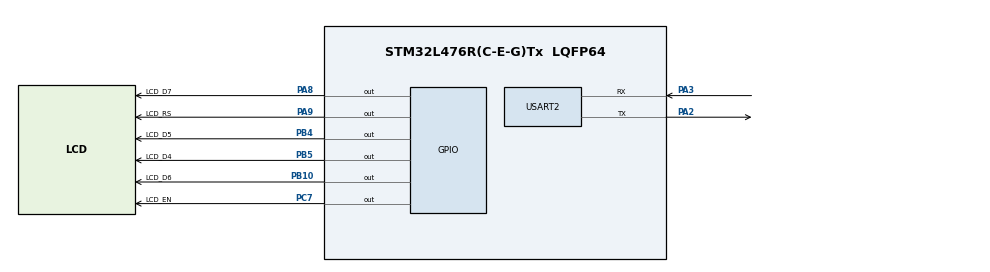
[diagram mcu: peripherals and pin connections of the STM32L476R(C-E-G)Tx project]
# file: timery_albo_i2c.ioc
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Mcu.Family=STM32L4
Mcu.Name=STM32L476R(C-E-G)Tx
Mcu.Package=LQFP64
NVIC.PriorityGroup=NVIC_PRIORITYGROUP_4
PA2.Mode=Asynchronous
PA2.Signal=USART2_TX
PA3.Mode=Asynchronous
PA3.Signal=USART2_RX
PA8.GPIO_Label=LCD_D7
PA8.Signal=GPIO_Output
PA9.GPIO_Label=LCD_RS
PA9.Signal=GPIO_Output
PB10.GPIO_Label=LCD_D6
PB10.Signal=GPIO_Output
PB4\ (NJTRST).GPIO_Label=LCD_D5
PB4\ (NJTRST).Signal=GPIO_Output
PB5.GPIO_Label=LCD_D4
PB5.Signal=GPIO_Output
PC7.GPIO_Label=LCD_EN
PC7.Signal=GPIO_Output
ProjectManager.HeapSize=0x200
ProjectManager.StackSize=0x400
ProjectManager.TargetToolchain=STM32CubeIDE
RCC.HSE_VALUE=8000000
RCC.HSI_VALUE=16000000
RCC.LSE_VALUE=32768
RCC.MSI_VALUE=4000000
RCC.VCOOutputFreq_Value=32000000
USART2.VirtualMode-Asynchronous=VM_ASYNC
VP_RTC_VS_RTC_Activate.Mode=RTC_Enabled
board=custom

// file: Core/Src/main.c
/* USER CODE BEGIN Header */
/**
  ******************************************************************************
  * @file           : main.c
  * @brief          : Main program body
  ******************************************************************************
  * @attention
  *
  * Copyright (c) 2023 STMicroelectronics.
  * All rights reserved.
  *
  * This software is licensed under terms that can be found in the LICENSE file
  * in the root directory of this software component.
  * If no LICENSE file comes with this software, it is provided AS-IS.
  *
  ******************************************************************************
  */
/* USER CODE END Header */
#include "main.h"

/* USER CODE BEGIN Includes */

#include "lcd.h"

/* USER CODE END Includes */

RTC_HandleTypeDef hrtc;

UART_HandleTypeDef huart2;

void SystemClock_Config(void);
static void MX_GPIO_Init(void);
static void MX_RTC_Init(void);
static void MX_USART2_UART_Init(void);

int main(void)
{

  /* MCU Configuration--------------------------------------------------------*/

  /* Reset of all peripherals, Initializes the Flash interface and the Systick. */
  HAL_Init();

  /* Configure the system clock */
  SystemClock_Config();

  /* Initialize all configured peripherals */
  MX_GPIO_Init();
  MX_RTC_Init();
  MX_USART2_UART_Init();
  /* USER CODE BEGIN 2 */

  lcd_init(_LCD_4BIT, _LCD_FONT_5x8, _LCD_2LINE);

  RTC_TimeTypeDef new_time;
  new_time.Hours = 7;
  new_time.Minutes = 45;
  new_time.Seconds = 0;
  RTC_DateTypeDef new_date;
  new_date.Year = 23;
  new_date.Month = 12;
  new_date.Date = 15;
  HAL_RTC_SetTime(&hrtc, &new_time, RTC_FORMAT_BIN);
  HAL_RTC_SetDate(&hrtc, &new_date, RTC_FORMAT_BIN);

  RTC_TimeTypeDef time;
  RTC_DateTypeDef date;

  HAL_RTC_GetTime(&hrtc, &time, RTC_FORMAT_BIN);
  HAL_RTC_GetDate(&hrtc, &date, RTC_FORMAT_BIN);

  char text[17];  // "YYYY-MM-DD HH:MM\0"
  sprintf(text, "%04d-%02d-%02d %02d:%02d", date.Year + 2000, date.Month, date.Date, time.Hours, time.Minutes);

  lcd_clear();
  lcd_print(1, 1, text);

    /* USER CODE END 2 */

    /* Infinite loop */
    while (1)
    {
//      RTC_TimeTypeDef time;
//      RTC_DateTypeDef date;
//
//      HAL_RTC_GetTime(&hrtc, &time, RTC_FORMAT_BIN);
//      HAL_RTC_GetDate(&hrtc, &date, RTC_FORMAT_BIN);

//  	  char text[20];
//  	  sprintf(text, "%d", time.Seconds);
//
//  	  lcd_clear();
//  	  lcd_print(1, 1, text);
//  	  HAL_Delay(1000);

    }
}

void SystemClock_Config(void)
{
  RCC_OscInitTypeDef RCC_OscInitStruct = {0};
  RCC_ClkInitTypeDef RCC_ClkInitStruct = {0};

  /** Configure the main internal regulator output voltage
  */
  if (HAL_PWREx_ControlVoltageScaling(PWR_REGULATOR_VOLTAGE_SCALE1) != HAL_OK)
  {
    Error_Handler();
  }

  /** Initializes the RCC Oscillators according to the specified parameters
  * in the RCC_OscInitTypeDef structure.
  */
  RCC_OscInitStruct.OscillatorType = RCC_OSCILLATORTYPE_LSI|RCC_OSCILLATORTYPE_MSI;
  RCC_OscInitStruct.LSIState = RCC_LSI_ON;
  RCC_OscInitStruct.MSIState = RCC_MSI_ON;
  RCC_OscInitStruct.MSICalibrationValue = 0;
  RCC_OscInitStruct.MSIClockRange = RCC_MSIRANGE_6;
  RCC_OscInitStruct.PLL.PLLState = RCC_PLL_NONE;
  if (HAL_RCC_OscConfig(&RCC_OscInitStruct) != HAL_OK)
  {
    Error_Handler();
  }

  /** Initializes the CPU, AHB and APB buses clocks
  */
  RCC_ClkInitStruct.ClockType = RCC_CLOCKTYPE_HCLK|RCC_CLOCKTYPE_SYSCLK
                              |RCC_CLOCKTYPE_PCLK1|RCC_CLOCKTYPE_PCLK2;
  RCC_ClkInitStruct.SYSCLKSource = RCC_SYSCLKSOURCE_MSI;
  RCC_ClkInitStruct.AHBCLKDivider = RCC_SYSCLK_DIV1;
  RCC_ClkInitStruct.APB1CLKDivider = RCC_HCLK_DIV1;
  RCC_ClkInitStruct.APB2CLKDivider = RCC_HCLK_DIV1;

  if (HAL_RCC_ClockConfig(&RCC_ClkInitStruct, FLASH_LATENCY_0) != HAL_OK)
  {
    Error_Handler();
  }
}

static void MX_RTC_Init(void)
{

  /** Initialize RTC Only
  */
  hrtc.Instance = RTC;
  hrtc.Init.HourFormat = RTC_HOURFORMAT_24;
  hrtc.Init.AsynchPrediv = 127;
  hrtc.Init.SynchPrediv = 255;
  hrtc.Init.OutPut = RTC_OUTPUT_DISABLE;
  hrtc.Init.OutPutRemap = RTC_OUTPUT_REMAP_NONE;
  hrtc.Init.OutPutPolarity = RTC_OUTPUT_POLARITY_HIGH;
  hrtc.Init.OutPutType = RTC_OUTPUT_TYPE_OPENDRAIN;
  if (HAL_RTC_Init(&hrtc) != HAL_OK)
  {
    Error_Handler();
  }

}

static void MX_USART2_UART_Init(void)
{

  huart2.Instance = USART2;
  huart2.Init.BaudRate = 115200;
  huart2.Init.WordLength = UART_WORDLENGTH_8B;
  huart2.Init.StopBits = UART_STOPBITS_1;
  huart2.Init.Parity = UART_PARITY_NONE;
  huart2.Init.Mode = UART_MODE_TX_RX;
  huart2.Init.HwFlowCtl = UART_HWCONTROL_NONE;
  huart2.Init.OverSampling = UART_OVERSAMPLING_16;
  huart2.Init.OneBitSampling = UART_ONE_BIT_SAMPLE_DISABLE;
  huart2.AdvancedInit.AdvFeatureInit = UART_ADVFEATURE_NO_INIT;
  if (HAL_UART_Init(&huart2) != HAL_OK)
  {
    Error_Handler();
  }

}

static void MX_GPIO_Init(void)
{
  GPIO_InitTypeDef GPIO_InitStruct = {0};

  /* GPIO Ports Clock Enable */
  __HAL_RCC_GPIOA_CLK_ENABLE();
  __HAL_RCC_GPIOB_CLK_ENABLE();
  __HAL_RCC_GPIOC_CLK_ENABLE();

  /*Configure GPIO pin Output Level */
  HAL_GPIO_WritePin(GPIOB, LCD_D6_Pin|LCD_D5_Pin|LCD_D4_Pin, GPIO_PIN_RESET);

  /*Configure GPIO pin Output Level */
  HAL_GPIO_WritePin(LCD_EN_GPIO_Port, LCD_EN_Pin, GPIO_PIN_RESET);

  /*Configure GPIO pin Output Level */
  HAL_GPIO_WritePin(GPIOA, LCD_D7_Pin|LCD_RS_Pin, GPIO_PIN_RESET);

  /*Configure GPIO pins : LCD_D6_Pin LCD_D5_Pin LCD_D4_Pin */
  GPIO_InitStruct.Pin = LCD_D6_Pin|LCD_D5_Pin|LCD_D4_Pin;
  GPIO_InitStruct.Mode = GPIO_MODE_OUTPUT_PP;
  GPIO_InitStruct.Pull = GPIO_NOPULL;
  GPIO_InitStruct.Speed = GPIO_SPEED_FREQ_LOW;
  HAL_GPIO_Init(GPIOB, &GPIO_InitStruct);

  /*Configure GPIO pin : LCD_EN_Pin */
  GPIO_InitStruct.Pin = LCD_EN_Pin;
  GPIO_InitStruct.Mode = GPIO_MODE_OUTPUT_PP;
  GPIO_InitStruct.Pull = GPIO_NOPULL;
  GPIO_InitStruct.Speed = GPIO_SPEED_FREQ_LOW;
  HAL_GPIO_Init(LCD_EN_GPIO_Port, &GPIO_InitStruct);

  /*Configure GPIO pins : LCD_D7_Pin LCD_RS_Pin */
  GPIO_InitStruct.Pin = LCD_D7_Pin|LCD_RS_Pin;
  GPIO_InitStruct.Mode = GPIO_MODE_OUTPUT_PP;
  GPIO_InitStruct.Pull = GPIO_NOPULL;
  GPIO_InitStruct.Speed = GPIO_SPEED_FREQ_LOW;
  HAL_GPIO_Init(GPIOA, &GPIO_InitStruct);

}

void Error_Handler(void)
{
  __disable_irq();
  while (1)
  {
  }
}
